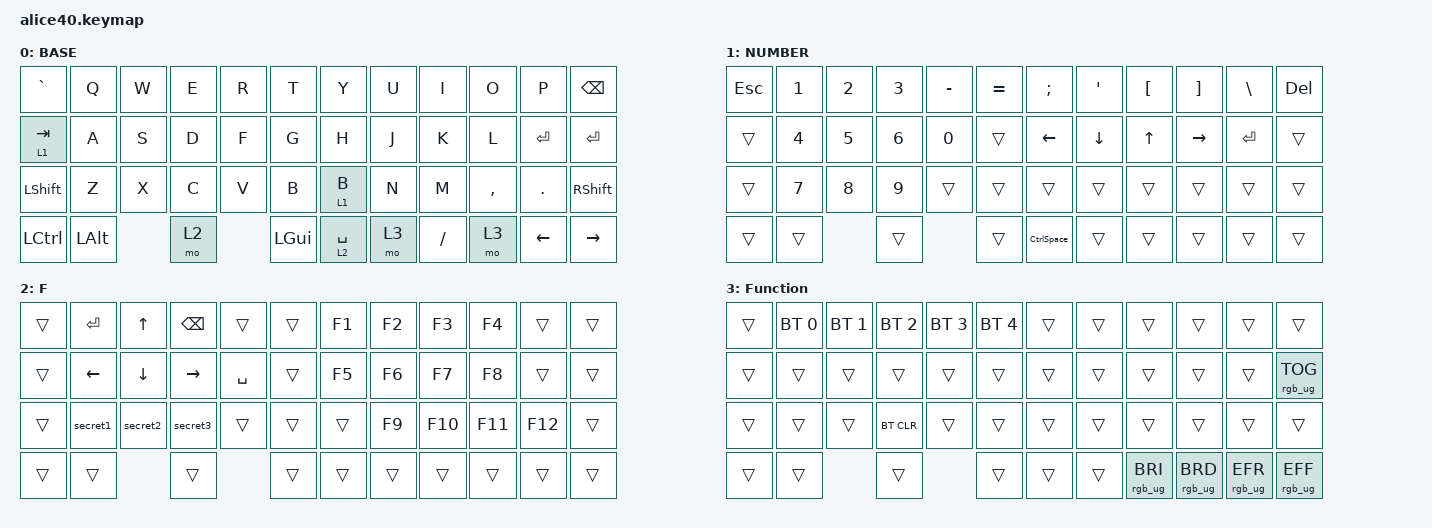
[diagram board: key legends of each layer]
#include <behaviors.dtsi>
#include <dt-bindings/zmk/bt.h>
#include <dt-bindings/zmk/keys.h>
#include <dt-bindings/zmk/rgb.h>

/ {
    macros {
        CtrlSpace: CtrlSpace {
            compatible = "zmk,behavior-macro";
            #binding-cells = <0>;
            bindings = <&kp LC(SPACE)>;
            label = "CTRLSPACE";
        };

        secret1: secret1 {
            compatible = "zmk,behavior-macro";
            #binding-cells = <0>;
            bindings = <&kp STAR &kp LS(A) &kp B &kp N2 &kp N5 &kp N5 &kp N4 &kp N4 &kp N0 &kp RET>;
            label = "SECRET1";
        };

        secret2: secret2 {
            compatible = "zmk,behavior-macro";
            #binding-cells = <0>;
            bindings = <&kp LS(S) &kp LS(E) &kp DLLR &kp R &kp F &kp T &kp N6 &kp Y &kp RET>;
            label = "SECRET2";
        };

        secret3: secret3 {
            compatible = "zmk,behavior-macro";
            #binding-cells = <0>;
            bindings = <&kp N1 &kp N2 &kp N3 &kp AT &kp LS(C) &kp O &kp N &kp A &kp N &kp RET>;
            label = "SECRET3";
        };
    };

    keymap {
        compatible = "zmk,keymap";

        Base_layer {
            label = "BASE";
            bindings = <
&kp GRAVE   &kp Q         &kp W  &kp E  &kp R  &kp T     &kp Y        &kp U  &kp I      &kp O      &kp P      &kp BACKSPACE
&lt 1 TAB   &kp A         &kp S  &kp D  &kp F  &kp G     &kp H        &kp J  &kp K      &kp L      &kp ENTER  &kp ENTER
&kp LSHIFT  &kp Z         &kp X  &kp C  &kp V  &kp B     &lt 1 B      &kp N  &kp M      &kp COMMA  &kp DOT    &kp RSHIFT
&kp LCTRL   &kp LEFT_ALT         &mo 2         &kp LGUI  &lt 2 SPACE  &mo 3  &kp SLASH  &mo 3      &kp LEFT   &kp RIGHT
            >;
        };

        Number_layer {
            bindings = <
&kp ESCAPE  &kp N1  &kp N2  &kp N3  &kp MINUS  &kp EQUAL  &kp SEMICOLON  &kp SQT   &kp LBKT  &kp RBKT   &kp BACKSLASH  &kp DELETE
&trans      &kp N4  &kp N5  &kp N6  &kp N0     &trans     &kp LEFT       &kp DOWN  &kp UP    &kp RIGHT  &kp ENTER      &trans
&trans      &kp N7  &kp N8  &kp N9  &trans     &trans     &trans         &trans    &trans    &trans     &trans         &trans
&trans      &trans          &trans             &trans     &CtrlSpace     &trans    &trans    &trans     &trans         &trans
            >;

            label = "NUMBER";
        };

        F_layer {
            bindings = <
&trans  &kp ENTER  &kp UP    &kp BACKSPACE  &trans     &trans  &kp F1  &kp F2  &kp F3   &kp F4   &trans   &trans
&trans  &kp LEFT   &kp DOWN  &kp RIGHT      &kp SPACE  &trans  &kp F5  &kp F6  &kp F7   &kp F8   &trans   &trans
&trans  &secret1   &secret2  &secret3       &trans     &trans  &trans  &kp F9  &kp F10  &kp F11  &kp F12  &trans
&trans  &trans               &trans                    &trans  &trans  &trans  &trans   &trans   &trans   &trans
            >;

            label = "F";
        };

        Function_layer {
            bindings = <
&trans  &bt BT_SEL 0  &bt BT_SEL 1  &bt BT_SEL 2  &bt BT_SEL 3  &bt BT_SEL 4  &trans  &trans  &trans           &trans           &trans           &trans
&trans  &trans        &trans        &trans        &trans        &trans        &trans  &trans  &trans           &trans           &trans           &rgb_ug RGB_TOG
&trans  &trans        &trans        &bt BT_CLR    &trans        &trans        &trans  &trans  &trans           &trans           &trans           &trans
&trans  &trans                      &trans                      &trans        &trans  &trans  &rgb_ug RGB_BRI  &rgb_ug RGB_BRD  &rgb_ug RGB_EFR  &rgb_ug RGB_EFF
            >;

            label = "Function";
        };
    };
};
